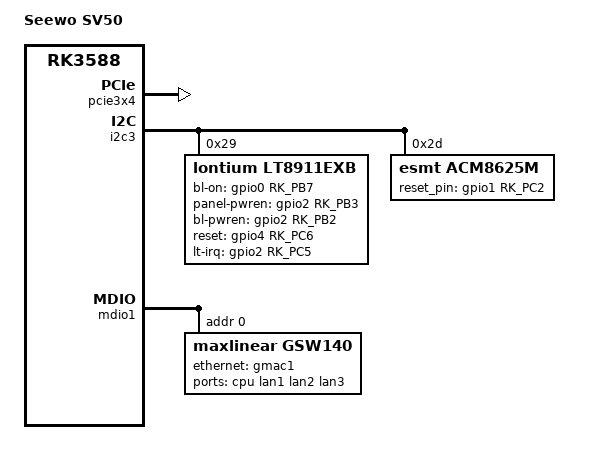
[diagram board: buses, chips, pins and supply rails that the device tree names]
// SPDX-License-Identifier: (GPL-2.0+ OR MIT)
/*
 * Copyright (c) 2026 ColtPlus
 */

/dts-v1/;

#include "rk3588-seewo-sv15-sv32-sv50.dtsi"
/ {
	model = "Seewo SV50";
	compatible = "seewo,sv50", "rockchip,rk3588";

	/*seewo_ioctl: seewo-ioctl {
		status = "okay";
		compatible = "seewo-ioctl";

		seewoctl-labels =
			"G1A0_D_MCU_BOOT",
			"G1D0_D_MCU_RST",
			"G1A4_D_MCU_UP_SW",
			"G2B5_U_AU_PWREN",
			"G2C4_D_DSP_GPIO_S0",
			"G2C1_D_DSP_GPIO_S1",
			"G2C2_D_DSP_GPIO_S2",
			"G2B0_U_WIFI_PWREN",
			"G2B4_U_WIFI_RST",
			"G1D2_D_5G_PWREN",
			"G1D3_D_5G_RST",
			"G4C5_D_PSE_PWREN",
			"G2B1_U_AP_PWREN",
			"G1D5_D_TP_PWREN",
			"G1C4_D_TP_RST",
			"G4D0_U_HUB20_RST",
			"G1D1_D_USB30_PWREN_B",
			"G4D2_U_USB20_PWREN_A",
			"G4D3_U_USB30_PWREN_A",
			"G1B3_D_HUB30_RST",
			"G4B5_D_HDMITX0_ON_IC",
			"G4B6_D_HDMITX1_ON_IC",
			"G4D1_U_PWREN_IC",
			"G4C3_D_LED_B",
			"G2C0_D_LED_R";

		seewoctl-gpios = <&gpio1 RK_PA0 (GPIO_ACTIVE_LOW | GPIO_PULL_UP)>,
				 <&gpio1 RK_PD0 (GPIO_ACTIVE_LOW | GPIO_PULL_UP)>,
				 <&gpio1 RK_PA4 (GPIO_ACTIVE_LOW | GPIO_PULL_UP | GPIO_OPEN_DRAIN)>,
				 <&gpio2 RK_PB5 (GPIO_ACTIVE_LOW | GPIO_PULL_UP | GPIO_OPEN_DRAIN)>,
				 <&gpio2 RK_PC4 (GPIO_ACTIVE_LOW | GPIO_PULL_UP)>,
				 <&gpio2 RK_PC1 (GPIO_ACTIVE_LOW | GPIO_PULL_UP)>,
				 <&gpio2 RK_PC2 (GPIO_ACTIVE_LOW | GPIO_PULL_UP | GPIO_OPEN_DRAIN)>,
				 <&gpio2 RK_PB0 (GPIO_ACTIVE_LOW | GPIO_PULL_UP | GPIO_OPEN_DRAIN)>,
				 <&gpio2 RK_PB4 (GPIO_ACTIVE_LOW | GPIO_PULL_UP)>,
				 <&gpio1 RK_PD2 (GPIO_ACTIVE_LOW | GPIO_PULL_UP | GPIO_OPEN_DRAIN)>,
				 <&gpio1 RK_PD3 (GPIO_ACTIVE_LOW | GPIO_PULL_UP | GPIO_OPEN_DRAIN)>,
				 <&gpio4 RK_PC5 (GPIO_ACTIVE_LOW | GPIO_PULL_UP | GPIO_OPEN_DRAIN)>,
				 <&gpio2 RK_PB1 (GPIO_ACTIVE_LOW | GPIO_PULL_UP | GPIO_OPEN_DRAIN)>,
				 <&gpio1 RK_PD5 (GPIO_ACTIVE_LOW | GPIO_PULL_UP | GPIO_OPEN_DRAIN)>,
				 <&gpio1 RK_PC4 (GPIO_ACTIVE_LOW | GPIO_PULL_UP | GPIO_OPEN_DRAIN)>,
				 <&gpio4 RK_PD0 (GPIO_ACTIVE_LOW | GPIO_PULL_UP)>,
				 <&gpio1 RK_PD1 (GPIO_ACTIVE_LOW | GPIO_PULL_UP | GPIO_OPEN_DRAIN)>,
				 <&gpio4 RK_PD2 (GPIO_ACTIVE_LOW | GPIO_PULL_UP | GPIO_OPEN_DRAIN)>,
				 <&gpio4 RK_PD3 (GPIO_ACTIVE_LOW | GPIO_PULL_UP | GPIO_OPEN_DRAIN)>,
				 <&gpio1 RK_PB3 (GPIO_ACTIVE_LOW | GPIO_PULL_UP)>,
				 <&gpio4 RK_PB5 GPIO_ACTIVE_HIGH>,
				 <&gpio4 RK_PB6 GPIO_ACTIVE_HIGH>,
				 <&gpio4 RK_PD1 (GPIO_ACTIVE_LOW | GPIO_PULL_UP)>,
				 <&gpio4 RK_PC3 (GPIO_ACTIVE_LOW | GPIO_PULL_UP | GPIO_OPEN_DRAIN)>,
				 <&gpio2 RK_PC0 (GPIO_ACTIVE_LOW | GPIO_PULL_UP | GPIO_OPEN_DRAIN)>;

		pinctrl-names = "default";
		pinctrl-0 = <&seewoctl_iomux>;
	};*/

	acm8625m_sound: i2s0-sound {
		compatible = "simple-audio-card";
		simple-audio-card,format = "i2s";
		simple-audio-card,name = "rockchip,acm8625m";
		simple-audio-card,mclk-fs = <256>;
		status = "disab";

		simple-audio-card, {
			sound-dai = <&i2s0_8ch>;
		};

		simple-audio-card,codec {
			sound-dai = <&acm8625m>;
		};
	};
};

&pcie3x4 {
	status = "okay";
};

&i2c3 {
	lt8911exb: lt8911exb@29 {
		compatible = "lontium,lt8911exb";
		reg = <0x29>;
		bl-on-gpios = <&gpio0 RK_PB7 GPIO_ACTIVE_HIGH>;
		panel-pwren-gpios = <&gpio2 RK_PB3 GPIO_ACTIVE_HIGH>;
		bl-pwren-gpios = <&gpio2 RK_PB2 GPIO_ACTIVE_HIGH>;
		reset-gpios = <&gpio4 RK_PC6 GPIO_ACTIVE_HIGH>;
		lt-irq-gpios = <&gpio2 RK_PC5 GPIO_ACTIVE_HIGH>;
		status = "okay";
	};

	acm8625m: acm8625m@2d {
		compatible = "esmt,acm8625m";
		reg = <0x2d>;
		#sound-dai-cells = <0>;
		reset_pin = <&gpio1 RK_PC2 GPIO_ACTIVE_HIGH>;
		no_mclk;
		status = "okay";
	};
};

&pinctrl {
	/*seewo {
		seewoctl_iomux: seewoctl-iomux {
			rockchip,pins =
				<1 RK_PA0 RK_FUNC_GPIO &pcfg_pull_none>,
				<1 RK_PD0 RK_FUNC_GPIO &pcfg_pull_none>,
				<1 RK_PA4 RK_FUNC_GPIO &pcfg_pull_none>,
				<2 RK_PB5 RK_FUNC_GPIO &pcfg_pull_none>,
				<2 RK_PC4 RK_FUNC_GPIO &pcfg_pull_none>,
				<2 RK_PC1 RK_FUNC_GPIO &pcfg_pull_none>,
				<2 RK_PC2 RK_FUNC_GPIO &pcfg_pull_none>,
				<2 RK_PB0 RK_FUNC_GPIO &pcfg_pull_none>,
				<2 RK_PB4 RK_FUNC_GPIO &pcfg_pull_none>,
				<1 RK_PD2 RK_FUNC_GPIO &pcfg_pull_none>,
				<1 RK_PD3 RK_FUNC_GPIO &pcfg_pull_none>,
				<4 RK_PC5 RK_FUNC_GPIO &pcfg_pull_none>,
				<2 RK_PB1 RK_FUNC_GPIO &pcfg_pull_none>,
				<1 RK_PD5 RK_FUNC_GPIO &pcfg_pull_none>,
				<1 RK_PC4 RK_FUNC_GPIO &pcfg_pull_none>,
				<4 RK_PD0 RK_FUNC_GPIO &pcfg_pull_none>,
				<1 RK_PD1 RK_FUNC_GPIO &pcfg_pull_none>,
				<4 RK_PD2 RK_FUNC_GPIO &pcfg_pull_none>,
				<4 RK_PD3 RK_FUNC_GPIO &pcfg_pull_none>,
				<1 RK_PB3 RK_FUNC_GPIO &pcfg_pull_none>,
				<4 RK_PB5 RK_FUNC_GPIO &pcfg_pull_none>,
				<4 RK_PB6 RK_FUNC_GPIO &pcfg_pull_none>,
				<4 RK_PD1 RK_FUNC_GPIO &pcfg_pull_none>,
				<4 RK_PC3 RK_FUNC_GPIO &pcfg_pull_none>,
				<2 RK_PC0 RK_FUNC_GPIO &pcfg_pull_none>;
		};
	};*/

	usb {
		usb20_pwren_a: usb20-pwren-a {
			rockchip,pins = <4 RK_PD2 RK_FUNC_GPIO &pcfg_pull_none>;
		};

		usb30_pwren_a: usb30-pwren-a {
			rockchip,pins = <4 RK_PD3 RK_FUNC_GPIO &pcfg_pull_none>;
		};

		usb30_pwren_b: usb30-pwren-b {
			rockchip,pins = <1 RK_PD1 RK_FUNC_GPIO &pcfg_pull_none>;
		};
	};
};

&mdio1 {
	compatible = "snps,dwmac-mdio";
	#address-cells = <1>;
	#size-cells = <0>;

	gsw140: switch@0 {
		compatible = "maxlinear,gsw140";
		reg = <0>;

		ports {
			#address-cells = <1>;
			#size-cells = <0>;

			port@5 {
				reg = <5>;
				label = "cpu";
				ethernet = <&gmac1>;
				phy-mode = "rgmii";

				fixed-link {
					speed = <1000>;
					full-duplex;
				};
			};

			port@0 {
				reg = <0>;
				label = "lan1";
				phy-mode = "internal";
			};

			port@1 {
				reg = <1>;
				label = "lan2";
				phy-mode = "internal";
			};

			port@2 {
				reg = <2>;
				label = "lan3";
				phy-mode = "internal";
			};
		};
	};
};
